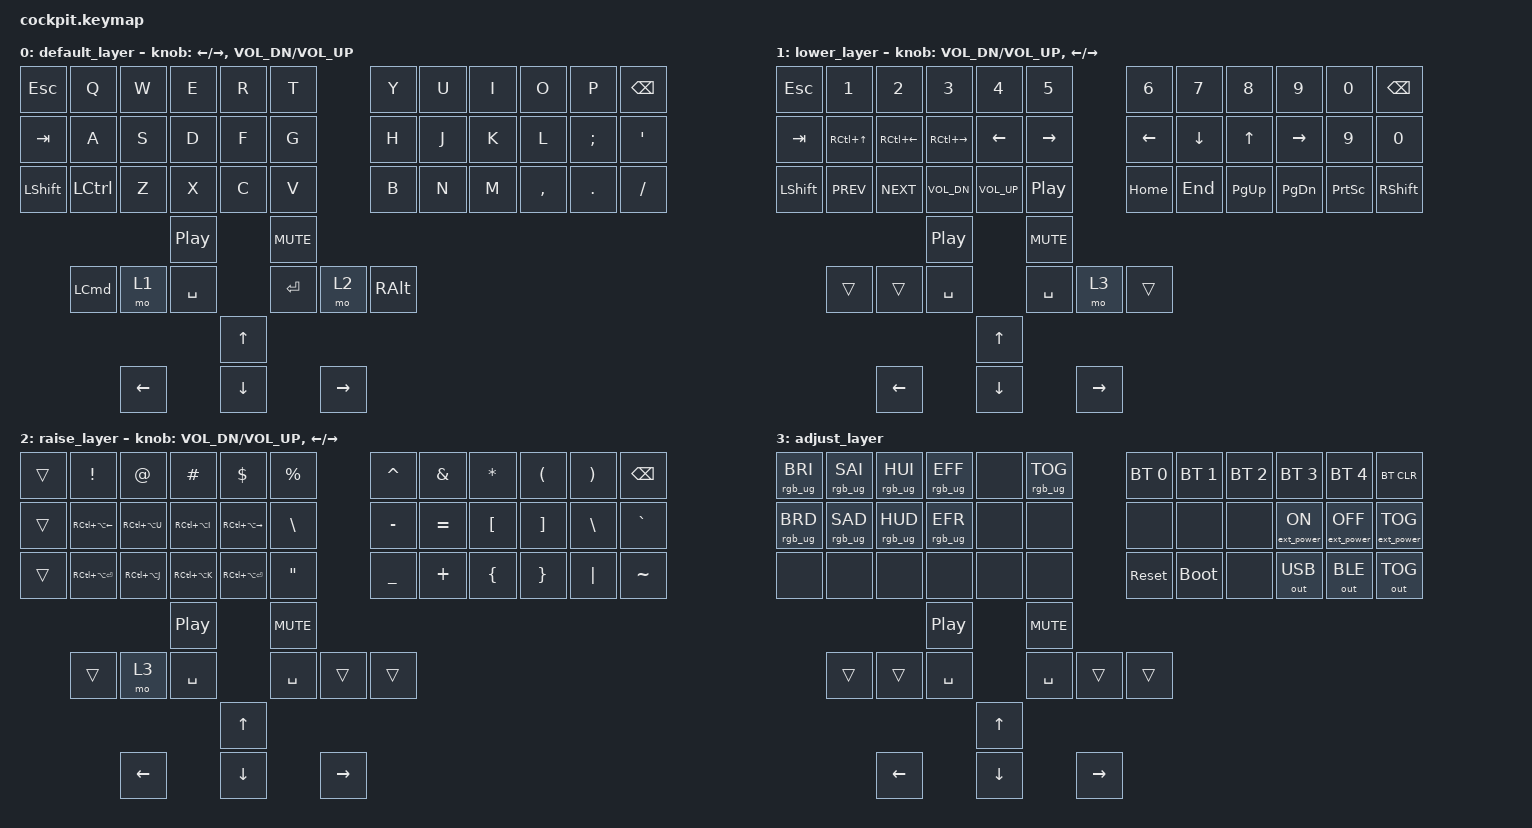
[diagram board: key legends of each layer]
/*
 * Copyright (c) 2022 ozkancelik  | github.com/ozkan
 *
 * SPDX-License-Identifier: MIT
 */

#include <behaviors.dtsi>
#include <dt-bindings/zmk/keys.h>
#include <dt-bindings/zmk/ext_power.h>
#include <dt-bindings/zmk/outputs.h>
#include <dt-bindings/zmk/bt.h>
#include <dt-bindings/zmk/rgb.h>
#include <dt-bindings/led/led.h>


&left_encoder {
    status = "okay";
};

&right_encoder {
    status = "okay";
};


/ {
        keymap {
                compatible = "zmk,keymap";

                default_layer {


// BASE
// ╭──────┬──────┬──────┬──────┬──────┬──────╮                   ╭──────┬──────┬──────┬──────┬──────┬──────╮
// │  ESC │  Q   │  W   │  E   │  R   │  T   │                   │  Y   │  U   │  I   │  O   │   P  │ BSPC │
// ├──────┼──────┼──────┼──────┼──────┼──────┤                   ├──────┼──────┼──────┼──────┼──────┼──────┤
// │  TAB │  A   │  S   │  D   │  F   │  G   │                   │  H   │  J   │  K   │  L   │   ;  │   '  │
// ├──────┼──────┼──────┼──────┼──────┼──────┤                   ├──────┼──────┼──────┼──────┼──────┼──────┤
// │ LSFT │LCTRL │  X   │  C   │  V   │  B   │                   │  N   │  M   │  ,   │    . │  /   │RS-ENT│
// ╰──────┴──────┴──────┴──────┴──────┴──────┼─────────┬─────────┼──────┴──────┴──────┴──────┴──────┴──────╯
//                                           │   MPLY  │  MUTE   │
//                     ╭──────┬──────┬───────┼─────────┴─────────┼──────┬──────┬──────╮
//                     │  ALT │LOWER │  FNL  │                   │ FNR  │RAISE │ RALT │
//                     ╰──────┴──────┴───────┴─────┬──────┬──────┴──────┴──────┴──────╯
//                                                 │  UP  │
//                                          ╭──────┼──────┼──────╮
//                                          │ LEFT │ DOWN │ RIGHT│
//                                          ╰──────┴──────┴──────╯



                        bindings = <
   &kp ESC      &kp Q           &kp W   &kp E   &kp R   &kp T             &kp Y &kp U  &kp I    &kp O           &kp P           &kp BSPC
   &kp TAB      &kp A           &kp S   &kp D   &kp F   &kp G             &kp H &kp J  &kp K    &kp L           &kp SEMI        &kp SQT
   &kp LSHFT    &kp LCTRL       &kp Z   &kp X   &kp C   &kp V             &kp B &kp N  &kp M    &kp COMMA       &kp DOT         &kp FSLH
                                     &kp C_PLAY_PAUSE  &kp C_MUTE
                    &kp LCMD  &mo 1 &kp SPACE              &kp RET &mo 2  &kp RALT
                                               &kp UP_ARROW
                               &kp LEFT_ARROW  &kp DOWN_ARROW  &kp RIGHT_ARROW
                                                 
                        >;
                        sensor-bindings = <&inc_dec_kp LEFT RIGHT &inc_dec_kp C_VOL_DN C_VOL_UP>;
                };

                lower_layer {

// LOWER
// ╭──────┬──────┬──────┬──────┬──────┬──────╮                   ╭──────┬──────┬──────┬──────┬──────┬──────╮
// │  TAB │      │      │      │      │      │                   │      │      │      │      │      │ BSPC │
// ├──────┼──────┼──────┼──────┼──────┼──────┤                   ├──────┼──────┼──────┼──────┼──────┼──────┤
// │ CTRL │      │      │      │      │      │                   │      │      │      │      │      │   '  │
// ├──────┼──────┼──────┼──────┼──────┼──────┤                   ├──────┼──────┼──────┼──────┼──────┼──────┤
// │  SFT │      │      │      │      │      │                   │      │      │      │      │      │ ENT  │
// ╰──────┴──────┴──────┴──────┴──────┴──────┼─────────┬─────────┼──────┴──────┴──────┴──────┴──────┴──────╯
//                                           │   MPLY  │  MUTE   │
//                     ╭──────┬──────┬───────┼─────────┴─────────┼──────┬──────┬──────╮
//                     │  ALT │LOWER │  FNL  │                   │ FNR  │RAISE │  WIN │
//                     ╰──────┴──────┴───────┴─────┬──────┬──────┴──────┴──────┴──────╯
//                                                 │  UP  │
//                                          ╭──────┼──────┼──────╮
//                                          │ LEFT │ DOWN │ RIGHT│
//                                          ╰──────┴──────┴──────╯



                        bindings = <
   &kp ESC    &kp N1        &kp N2          &kp N3          &kp N4          &kp N5              &kp N6    &kp N7    &kp N8    &kp N9     &kp N0     &kp BSPC
   &kp TAB    &kp RC(UP)    &kp RC(LEFT)    &kp RC(RIGHT)   &kp LEFT        &kp RIGHT           &kp LEFT  &kp DOWN  &kp UP    &kp RIGHT  &kp N9     &kp N0
   &kp LSHFT  &kp C_PREV    &kp C_NEXT      &kp C_VOL_DN    &kp C_VOL_UP    &kp C_PLAY_PAUSE    &kp HOME  &kp END   &kp PG_UP &kp PG_DN  &kp PSCRN  &kp RSHFT
                                                &kp C_PLAY_PAUSE  &kp C_MUTE
                           &trans  &trans &kp SPACE              &kp SPACE &mo 3  &trans
                                                      &kp UP_ARROW
                                      &kp LEFT_ARROW  &kp DOWN_ARROW  &kp RIGHT_ARROW
                        >;
                        sensor-bindings = <&inc_dec_kp C_VOL_DN C_VOL_UP &inc_dec_kp LEFT RIGHT>;
                };

                raise_layer {
                        
// ╭──────┬──────┬──────┬──────┬──────┬──────╮                   ╭──────┬──────┬──────┬──────┬──────┬──────╮
// │  TAB │      │      │      │      │      │                   │      │      │      │      │      │ BSPC │
// ├──────┼──────┼──────┼──────┼──────┼──────┤                   ├──────┼──────┼──────┼──────┼──────┼──────┤
// │ CTRL │      │      │      │      │      │                   │      │      │      │      │      │   '  │
// ├──────┼──────┼──────┼──────┼──────┼──────┤                   ├──────┼──────┼──────┼──────┼──────┼──────┤
// │  SFT │      │      │      │      │      │                   │      │      │      │      │      │ ENT  │
// ╰──────┴──────┴──────┴──────┴──────┴──────┼─────────┬─────────┼──────┴──────┴──────┴──────┴──────┴──────╯
//                                           │   MPLY  │  MUTE   │
//                     ╭──────┬──────┬───────┼─────────┴─────────┼──────┬──────┬──────╮
//                     │  ALT │LOWER │  FNL  │                   │ FNR  │RAISE │  WIN │
//                     ╰──────┴──────┴───────┴─────┬──────┬──────┴──────┴──────┴──────╯
//                                                 │  UP  │
//                                          ╭──────┼──────┼──────╮
//                                          │ LEFT │ DOWN │ RIGHT│
//                                          ╰──────┴──────┴──────╯

                        bindings = <
   &trans &kp EXCL              &kp AT          &kp HASH        &kp DLLR                &kp PRCNT  &kp CARET  &kp AMPS   &kp ASTRK   &kp LPAR    &kp RPAR   &kp BSPC
   &trans &kp RC(LA(LEFT))      &kp RC(LA(U))   &kp RC(LA(I))   &kp RC(LA(RIGHT))       &kp BSLH   &kp MINUS  &kp EQUAL  &kp LBKT    &kp RBKT    &kp BSLH   &kp GRAVE
   &trans &kp RC(LA(RET))       &kp RC(LA(J))   &kp RC(LA(K))   &kp RC(LA(RET))         &kp DQT    &kp UNDER  &kp PLUS   &kp LBRC    &kp RBRC    &kp PIPE   &kp TILDE
                                            &kp C_PLAY_PAUSE    &kp C_MUTE
                           &trans  &mo 3 &kp SPACE              &kp SPACE  &trans   &trans
                                                      &kp UP_ARROW
                                      &kp LEFT_ARROW  &kp DOWN_ARROW  &kp RIGHT_ARROW
                        >;
                        sensor-bindings = <&inc_dec_kp C_VOL_DN C_VOL_UP &inc_dec_kp LEFT RIGHT>;

                };

                adjust_layer {
// ADJUST
// ╭──────┬──────┬──────┬──────┬──────┬──────╮                   ╭──────┬──────┬──────┬──────┬──────┬──────╮
// | BRI+ | SAT+ | HUE+ | ANI+ |      | TOG  |                   │ bt1  | bt2  | bt3  | bt4  | bt5  |btclr │
// ├──────┼──────┼──────┼──────┼──────┼──────┤                   ├──────┼──────┼──────┼──────┼──────┼──────┤
// | BRI- | SAT- | HUE- | ANI- |      |      |                   |      |      |      |EP_ON |EP_OFF|EP_TOG|
// ├──────┼──────┼──────┼──────┼──────┼──────┤                   ├──────┼──────┼──────┼──────┼──────┼──────┤
// │      │      │      │      │      │      │                   |RESET |BOOTL |      |O_USB |O_BLE|OUT_TOG|
// ╰──────┴──────┴──────┴──────┴──────┴──────┼─────────┬─────────┼──────┴──────┴──────┴──────┴──────┴──────╯
//                                           │   MPLY  │  MUTE   │
//                     ╭──────┬──────┬───────┼─────────┴─────────┼──────┬──────┬──────╮
//                     │      │      │  SPC  │                   │ SPC  │      │      │
//                     ╰──────┴──────┴───────┴─────┬──────┬──────┴──────┴──────┴──────╯
//                                                 │  UP  │
//                                          ╭──────┼──────┼──────╮
//                                          │ LEFT │ DOWN │ RIGHT│
//                                          ╰──────┴──────┴──────╯

                        bindings = <
   &rgb_ug RGB_BRI &rgb_ug RGB_SAI &rgb_ug RGB_HUI &rgb_ug RGB_EFF &none &rgb_ug RGB_TOG            &bt BT_SEL 0 &bt BT_SEL 1  &bt BT_SEL 2 &bt BT_SEL 3       &bt BT_SEL 4        &bt BT_CLR
   &rgb_ug RGB_BRD &rgb_ug RGB_SAD &rgb_ug RGB_HUD &rgb_ug RGB_EFR &none         &none              &none        &none         &none        &ext_power EP_ON   &ext_power EP_OFF   &ext_power EP_TOG
   &none           &none           &none           &none           &none         &none              &sys_reset       &bootloader   &none        &out OUT_USB       &out OUT_BLE        &out OUT_TOG
                                                                                &kp C_PLAY_PAUSE  &kp C_MUTE
                                                                &trans    &trans  &kp SPACE              &kp SPACE &trans  &trans
                                                                                        &kp UP_ARROW
                                                                        &kp LEFT_ARROW  &kp DOWN_ARROW  &kp RIGHT_ARROW                      
                        >;
                };
        };
};
